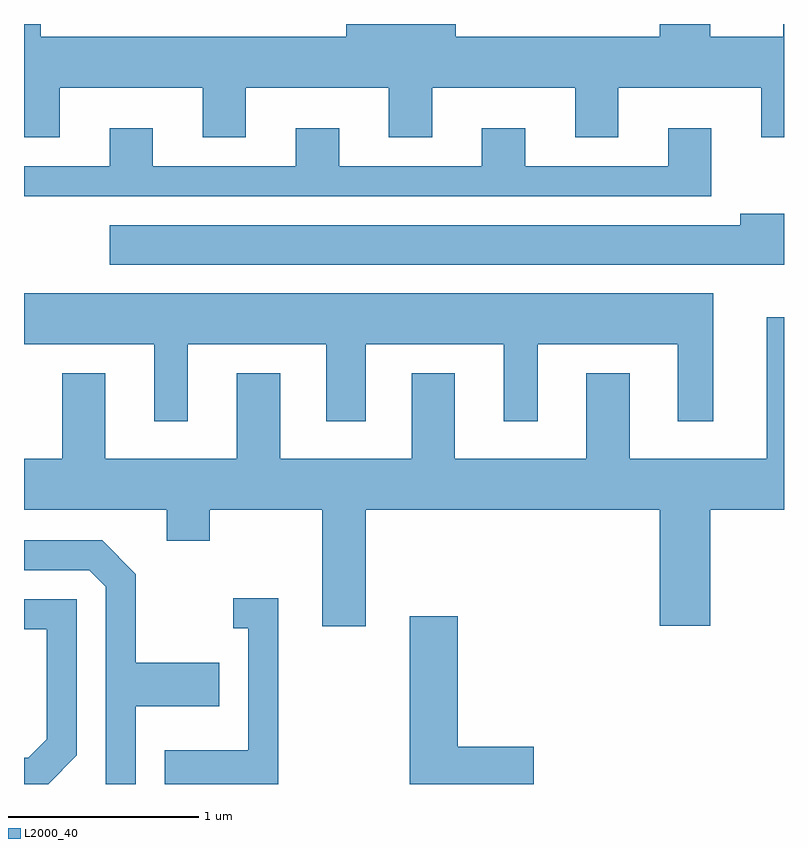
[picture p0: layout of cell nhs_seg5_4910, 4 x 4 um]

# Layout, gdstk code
import gdstk
lib = gdstk.Library(unit=1e-6, precision=1e-09)
def P(c, l, *ps):  # polygons
    for p in ps: c.add(gdstk.Polygon(p, *l))
L2000_40 = (2000, 40)

nhs_seg5_4910 = lib.new_cell('nhs_seg5_4910')
P(nhs_seg5_4910, L2000_40, [(335.611,1406.072),(335.606,1406.072),(335.606,1406.004),(335.224,1406.004),(335.224,1406.072),(334.956,1406.072),(334.956,1406.004),(333.884,1406.004),(333.884,1406.072),(333.306,1406.072),(333.306,1406.004),(331.699,1406.004),(331.699,1406.072),(331.611,1406.072),(331.611,1405.476),(331.799,1405.476),(331.799,1405.736),(332.551,1405.736),(332.551,1405.476),(332.779,1405.476),(332.779,1405.736),(333.531,1405.736),(333.531,1405.476),(333.759,1405.476),(333.759,1405.736),(334.511,1405.736),(334.511,1405.476),(334.739,1405.476),(334.739,1405.736),(335.491,1405.736),(335.491,1405.476),(335.611,1405.476)],
  [(335.229,1405.524),(335.001,1405.524),(335.001,1405.324),(334.249,1405.324),(334.249,1405.524),(334.021,1405.524),(334.021,1405.324),(333.269,1405.324),(333.269,1405.524),(333.041,1405.524),(333.041,1405.324),(332.289,1405.324),(332.289,1405.524),(332.061,1405.524),(332.061,1405.324),(331.611,1405.324),(331.611,1405.166),(335.229,1405.166)],
  [(335.611,1405.074),(335.381,1405.074),(335.381,1405.014),(332.061,1405.014),(332.061,1404.806),(335.611,1404.806)],
  [(332.474,1404.386),(333.201,1404.386),(333.201,1403.981),(333.409,1403.981),(333.409,1404.386),(334.136,1404.386),(334.136,1403.981),(334.314,1403.981),(334.314,1404.386),(335.051,1404.386),(335.051,1403.981),(335.239,1403.981),(335.239,1404.654),(331.611,1404.654),(331.611,1404.386),(332.296,1404.386),(332.296,1403.981),(332.474,1403.981)],
  [(333.409,1403.516),(334.956,1403.516),(334.956,1402.906),(335.224,1402.906),(335.224,1403.516),(335.611,1403.516),(335.611,1404.528),(335.521,1404.528),(335.521,1403.784),(334.799,1403.784),(334.799,1404.234),(334.571,1404.234),(334.571,1403.784),(333.879,1403.784),(333.879,1404.234),(333.651,1404.234),(333.651,1403.784),(332.959,1403.784),(332.959,1404.234),(332.731,1404.234),(332.731,1403.784),(332.039,1403.784),(332.039,1404.234),(331.811,1404.234),(331.811,1403.784),(331.611,1403.784),(331.611,1403.516),(332.361,1403.516),(332.361,1403.351),(332.589,1403.351),(332.589,1403.516),(333.181,1403.516),(333.181,1402.901),(333.409,1402.901)],
  [(332.199,1402.481),(332.639,1402.481),(332.639,1402.709),(332.199,1402.709),(332.199,1403.177),(332.022,1403.354),(331.611,1403.354),(331.611,1403.196),(331.954,1403.196),(332.041,1403.109),(332.041,1402.072),(332.199,1402.072)],
  [(332.949,1403.049),(332.713,1403.049),(332.713,1402.891),(332.791,1402.891),(332.791,1402.249),(332.351,1402.249),(332.351,1402.072),(332.949,1402.072)],
  [(331.889,1402.224),(331.889,1403.044),(331.611,1403.044),(331.611,1402.886),(331.731,1402.886),(331.731,1402.307),(331.634,1402.209),(331.611,1402.209),(331.611,1402.072),(331.738,1402.072)],
  [(334.294,1402.269),(333.894,1402.269),(333.894,1402.954),(333.641,1402.954),(333.641,1402.072),(334.294,1402.072)])

lib.write_gds('nhs_seg5_4910.gds')
